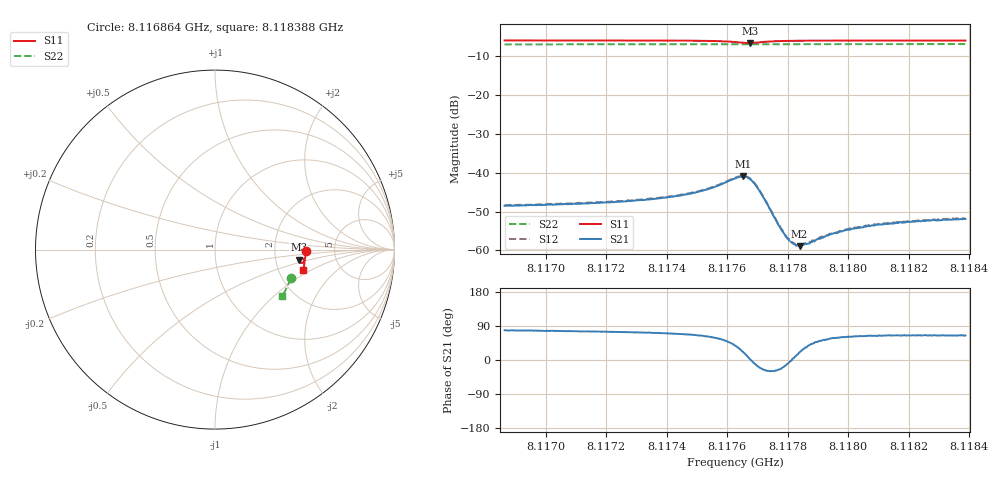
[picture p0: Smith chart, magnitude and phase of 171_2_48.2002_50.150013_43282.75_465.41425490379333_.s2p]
#  HZ  S  RI  R  50.00
! Rohde & Schwarz Vector Network Analyzer
! Rohde-Schwarz,ZNB20-2Port,1311601062101988,3.16
! Created: UTC 3/20/2024, 11:43:44 AM
! freq[Hz]  re:S11  im:S11  re:S21  im:S21  re:S12  im:S12  re:S22  im:S22
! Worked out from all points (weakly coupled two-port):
!   401 points, 8.116864 GHz to 8.118388 GHz, reference 50 ohm
!   highest |S21| = -40.95 dB at 8.117652 GHz (marker M1); lowest = -58.9 dB at 8.117839 GHz (marker M2)
!   lowest |S11| = -6.6 dB at 8.117675 GHz (marker M3), VSWR 2.77, Z = 135 - j19.6 ohm
!   |S11| at or under -10 dB: nowhere
!   |S22| runs from -6.9 to -6.8 dB; largest |S21 - S12| = 0.00022
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8.1168638e9  0.5063 -0.0066  0.000754 0.00367  0.000838 0.0037  0.4211 -0.1604
8.1171191e9  0.5051 -0.0267  0.000992 0.00387  0.00105 0.00392  0.4151 -0.1773
8.1173743e9  0.5022 -0.0484  0.00152 0.00443  0.00159 0.00449  0.4083 -0.1937
8.1174429e9  0.5006 -0.0551  0.00184 0.00473  0.0019 0.00479  0.4063 -0.1982
8.1175191e9  0.4969 -0.0637  0.00261 0.00528  0.00271 0.00537  0.4041 -0.2032
8.1175724e9  0.4914 -0.0706  0.00382 0.0057  0.00395 0.00578  0.4021 -0.2066
8.1176257e9  0.4779 -0.0743  0.00666 0.00526  0.00682 0.0053  0.4001 -0.2098
8.1176524e9  0.4683 -0.0681  0.00836 0.00324  0.00853 0.00319  0.399 -0.211
8.1176753e9  0.4663 -0.0565  0.0083 0.00035  0.00846 0.000261  0.3984 -0.2118
8.1176905e9  0.4704 -0.0497  0.00714 -0.00121  0.00722 -0.00128  0.3982 -0.2125
8.1177058e9  0.4767 -0.0464  0.00562 -0.00197  0.00567 -0.00206  0.3981 -0.2133
8.1177743e9  0.4943 -0.0539  0.00182 -0.000811  0.00187 -0.000851  0.3968 -0.2179
8.1177934e9  0.496 -0.0571  0.00148 -0.000374  0.0015 -0.000405  0.3962 -0.2192
8.11782e9  0.4975 -0.0612  0.00121 0.000107  0.00123 9.83e-05  0.3953 -0.221
8.1178391e9  0.498 -0.0638  0.00106 0.00039  0.00111 0.000404  0.3949 -0.2224
8.117881e9  0.4984 -0.069  0.000951 0.000873  0.000995 0.000906  0.3935 -0.2249
8.1179343e9  0.4984 -0.0747  0.00089 0.00128  0.000908 0.00129  0.3917 -0.2283
8.1179915e9  0.4981 -0.0801  0.000899 0.00159  0.000935 0.00159  0.3899 -0.2318
8.1180715e9  0.4971 -0.0872  0.000897 0.00184  0.000952 0.00186  0.3872 -0.2369
8.1181362e9  0.4963 -0.0926  0.000927 0.00201  0.000988 0.00201  0.385 -0.2408
8.118281e9  0.4941 -0.1041  0.00104 0.00224  0.00108 0.00225  0.3798 -0.2496
8.1183877e9  0.4923 -0.1122  0.00107 0.0023  0.00114 0.00233  0.3758 -0.2561
